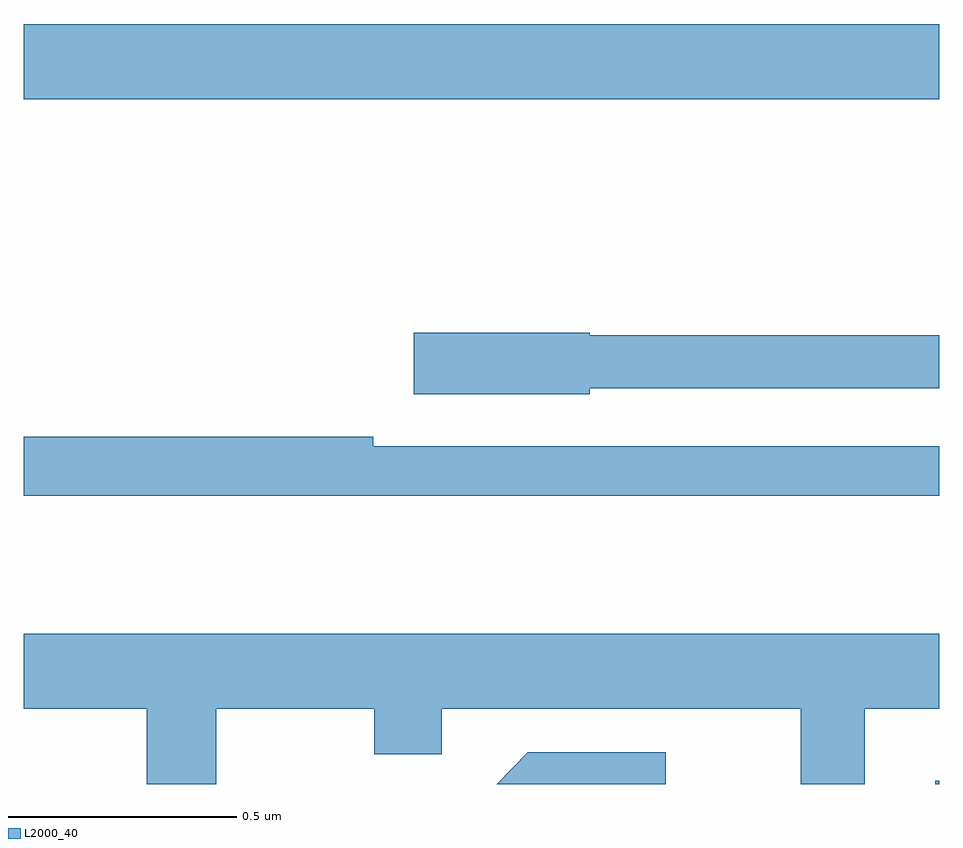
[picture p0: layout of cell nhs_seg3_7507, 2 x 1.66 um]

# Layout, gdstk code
import gdstk
lib = gdstk.Library(unit=1e-6, precision=1e-09)
def R(c, l, rs):  # rectangles x0, y0, x1, y1
    for r in rs: c.add(gdstk.rectangle(r[:2], r[2:], *l))
def P(c, l, *ps):  # polygons
    for p in ps: c.add(gdstk.Polygon(p, *l))
L2000_40 = (2000, 40)

nhs_seg3_7507 = lib.new_cell('nhs_seg3_7507')
R(nhs_seg3_7507, L2000_40, [(205.991,719.4,206,719.407), (204,720.896,206,721.06)])
P(nhs_seg3_7507, L2000_40, [(205.236,720.264),(206,720.264),(206,720.38),(205.236,720.38),(205.236,720.386),(204.852,720.386),(204.852,720.251),(205.236,720.251)],
  [(206,720.138),(204.764,720.138),(204.764,720.158),(204,720.158),(204,720.03),(206,720.03)],
  [(204.421,719.564),(204.766,719.564),(204.766,719.465),(204.913,719.465),(204.913,719.564),(205.697,719.564),(205.697,719.4),(205.837,719.4),(205.837,719.564),(206,719.564),(206,719.728),(204,719.728),(204,719.564),(204.269,719.564),(204.269,719.4),(204.421,719.4)],
  [(205.402,719.469),(205.101,719.469),(205.033,719.4),(205.402,719.4)])

lib.write_gds('nhs_seg3_7507.gds')
